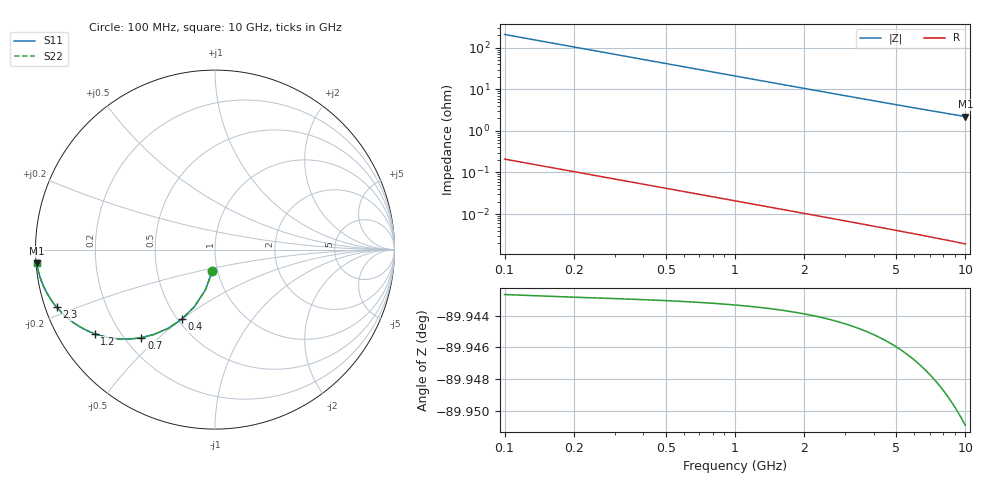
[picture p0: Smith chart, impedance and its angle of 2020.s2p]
# Hz S RI R 50.00
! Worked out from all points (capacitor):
!   100 points, 100 MHz to 10 GHz, reference 50 ohm
!   read as one part in shunt: C = 7.59 pF near 100 MHz
!   lowest |Z| = 2.22 ohm at 10 GHz (marker M1)
!   S11 on the Smith chart (normalised r, x): 100 MHz: 0.95, -0.23; 400 MHz: 0.52, -0.50; 700 MHz: 0.26, -0.44; 1.2 GHz: 0.11, -0.31; 2.3 GHz: 0.03, -0.18; 10 GHz: 0.00, -0.04
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1e8  -0.0141 -0.1175  0.9859 -0.1176  0.9859 -0.1176  -0.0141 -0.1175
2e8  -0.054 -0.2254  0.946 -0.2256  0.946 -0.2256  -0.054 -0.2254
3e8  -0.1136 -0.3167  0.8863 -0.3171  0.8863 -0.3171  -0.1136 -0.3167
4e8  -0.1855 -0.388  0.8145 -0.3884  0.8145 -0.3884  -0.1855 -0.388
5e8  -0.2623 -0.4391  0.7377 -0.4396  0.7377 -0.4396  -0.2623 -0.4391
6e8  -0.3384 -0.4724  0.6616 -0.473  0.6616 -0.473  -0.3384 -0.4724
7e8  -0.4103 -0.491  0.5897 -0.4918  0.5897 -0.4918  -0.4103 -0.491
9e8  -0.5346 -0.4978  0.4654 -0.4988  0.4654 -0.4988  -0.5346 -0.4978
1e9  -0.5863 -0.4915  0.4137 -0.4925  0.4137 -0.4925  -0.5863 -0.4915
1.2e9  -0.6709 -0.4687  0.3291 -0.47  0.3291 -0.47  -0.6709 -0.4687
1.3e9  -0.7051 -0.4548  0.2949 -0.4562  0.2949 -0.4562  -0.7051 -0.4548
1.5e9  -0.7607 -0.4253  0.2392 -0.4269  0.2392 -0.4269  -0.7607 -0.4253
1.8e9  -0.8205 -0.3823  0.1795 -0.3842  0.1795 -0.3842  -0.8205 -0.3823
2e9  -0.8493 -0.3561  0.1506 -0.3583  0.1506 -0.3583  -0.8493 -0.3561
2.3e9  -0.8816 -0.3213  0.1184 -0.3238  0.1184 -0.3238  -0.8816 -0.3213
2.8e9  -0.9167 -0.2742  0.0832 -0.2773  0.0832 -0.2773  -0.9167 -0.2742
3.4e9  -0.9419 -0.2316  0.0581 -0.2353  0.0581 -0.2353  -0.9419 -0.2316
4.2e9  -0.9611 -0.1906  0.0389 -0.1952  0.0389 -0.1952  -0.9611 -0.1906
5.1e9  -0.9732 -0.158  0.0267 -0.1636  0.0267 -0.1636  -0.9732 -0.158
6.7e9  -0.9843 -0.1198  0.0156 -0.1273  0.0156 -0.1273  -0.9843 -0.1198
8.4e9  -0.99 -0.094  0.00991 -0.1034  0.00991 -0.1034  -0.99 -0.094
1e10  -0.993 -0.077  0.00693 -0.0884  0.00693 -0.0884  -0.993 -0.077
